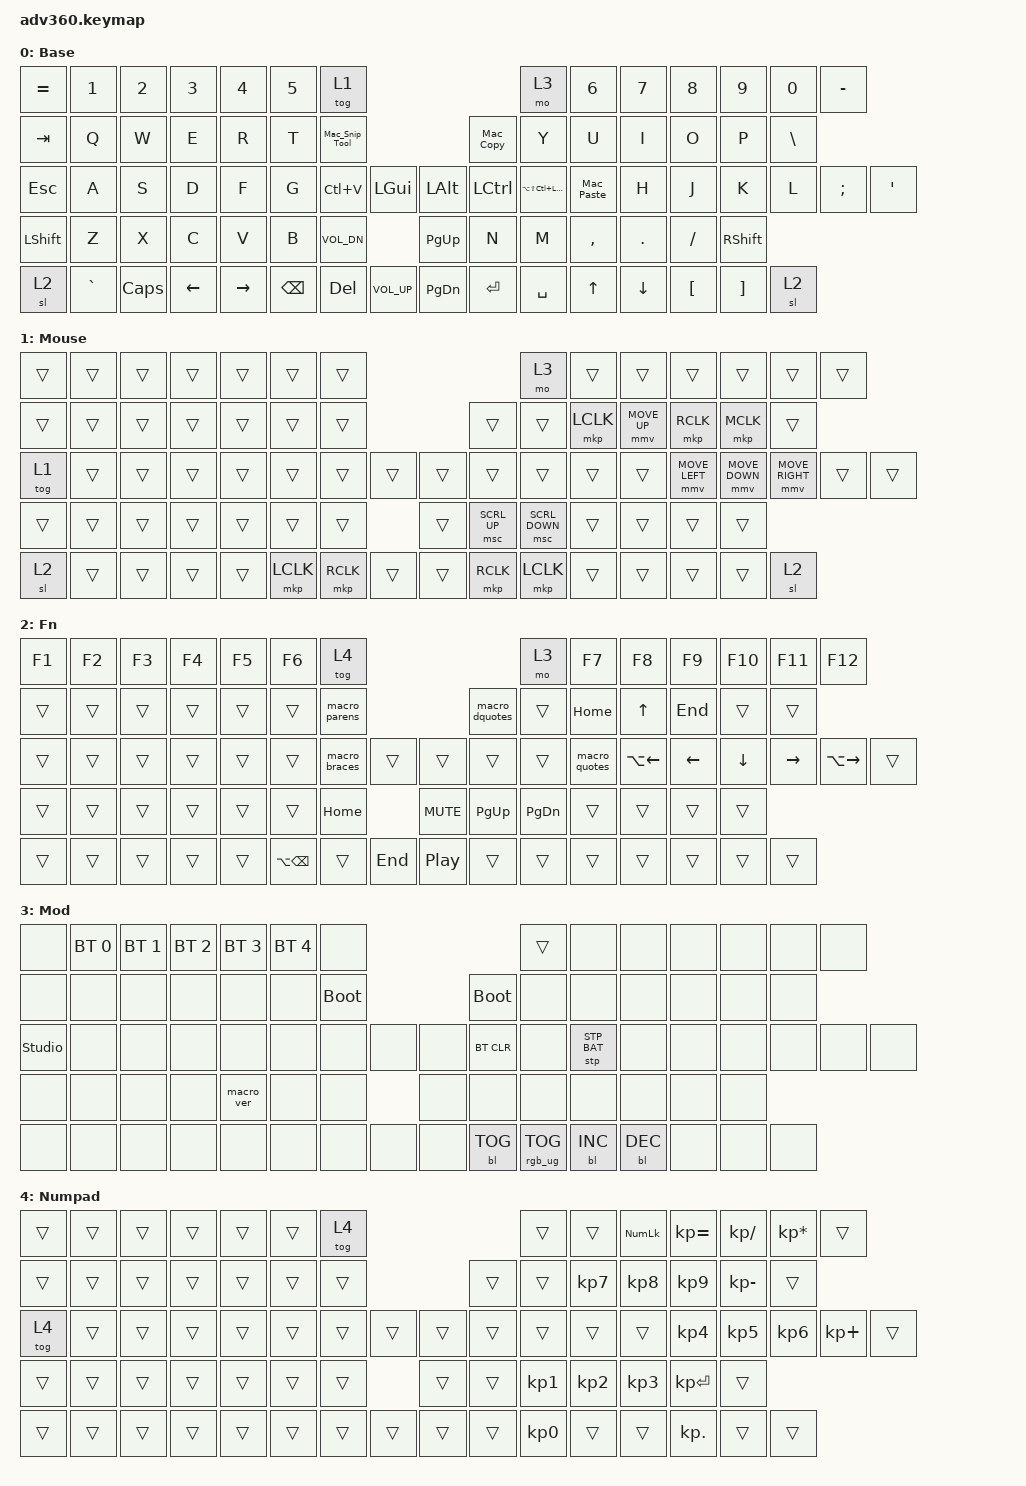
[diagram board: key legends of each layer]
#include <behaviors.dtsi>
#include <dt-bindings/zmk/keys.h>
#include <dt-bindings/zmk/bt.h>
#include <dt-bindings/zmk/rgb.h>
#include <dt-bindings/zmk/stp.h>
#include <dt-bindings/zmk/backlight.h>
#include <dt-bindings/zmk/pointing.h>

/ {
    behaviors {
      #include "macros.dtsi"
      #include "version.dtsi"

      hm: homerow_mods {
          compatible = "zmk,behavior-hold-tap";
          label = "HOMEROW_MODS";
          #binding-cells = <2>;
          tapping-term-ms = <200>;
          quick_tap_ms = <175>;
          flavor = "tap-preferred";
          bindings = <&kp>, <&kp>;
      };
    };

  keymap {
    compatible = "zmk,keymap";

    default_layer {
      display-name = "Base";
      bindings = <
        &kp EQUAL &kp N1 &kp N2 &kp N3 &kp N4 &kp N5 &tog 1       &mo 3 &kp N6 &kp N7 &kp N8 &kp N9 &kp N0 &kp MINUS
        &kp TAB &kp Q &kp W &kp E &kp R &kp T &Mac_Snip_Tool       &Mac_Copy &kp Y &kp U &kp I &kp O &kp P &kp BSLH
        &kp ESC &kp A &kp S &kp D &kp F &kp G &kp LC(V)   &kp LGUI &kp LALT &kp LCTRL &kp LA(LS(LC(LGUI)))   &Mac_Paste &kp H &kp J &kp K &kp L &kp SEMI &kp SQT
        &kp LSHFT &kp Z &kp X &kp C &kp V &kp B   &kp C_VOL_DN &kp PG_UP   &kp N &kp M &kp COMMA &kp DOT &kp FSLH &kp RSHFT
        &sl 2 &kp GRAVE &kp CAPS &kp LEFT &kp RIGHT   &kp BSPC &kp DEL &kp C_VOL_UP &kp PG_DN &kp ENTER &kp SPACE   &kp UP &kp DOWN &kp LBKT &kp RBKT &sl 2
      >;
    };
    keypad {
      display-name = "Mouse";
      bindings = <
        &trans &trans &trans &trans &trans &trans &trans       &mo 3 &trans &trans &trans &trans &trans &trans
        &trans &trans &trans &trans &trans &trans &trans       &trans &trans &mkp LCLK &mmv MOVE_UP &mkp RCLK &mkp MCLK &trans
        &tog 1 &trans &trans &trans &trans &trans &trans   &trans &trans &trans &trans   &trans &trans &mmv MOVE_LEFT &mmv MOVE_DOWN &mmv MOVE_RIGHT &trans &trans
        &trans &trans &trans &trans &trans &trans   &trans &trans   &msc SCRL_UP &msc SCRL_DOWN &trans &trans &trans &trans
        &sl 2 &trans &trans &trans &trans   &mkp LCLK &mkp RCLK &trans &trans &mkp RCLK &mkp LCLK   &trans &trans &trans &trans &sl 2
      >;
    };
    fn {
      display-name = "Fn";
      bindings = <
        &kp F1 &kp F2 &kp F3 &kp F4 &kp F5 &kp F6 &tog 4       &mo 3 &kp F7 &kp F8 &kp F9 &kp F10 &kp F11 &kp F12
        &trans &trans &trans &trans &trans &trans &macro_parens       &macro_dquotes &trans &kp HOME &kp UP &kp END &trans &trans
        &trans &trans &trans &trans &trans &trans &macro_braces   &trans &trans &trans &trans   &macro_quotes &kp LA(LEFT) &kp LEFT &kp DOWN &kp RIGHT &kp LA(RIGHT) &trans
        &trans &trans &trans &trans &trans &trans   &kp HOME &kp C_MUTE   &kp PG_UP &kp PG_DN &trans &trans &trans &trans
        &trans &trans &trans &trans &trans   &kp LA(BSPC) &trans &kp END &kp C_PP &trans &trans   &trans &trans &trans &trans &trans
      >;
    };
    mod {
      display-name = "Mod";
      bindings = <
        &none &bt BT_SEL 0 &bt BT_SEL 1 &bt BT_SEL 2 &bt BT_SEL 3 &bt BT_SEL 4 &none       &trans &none &none &none &none &none &none
        &none &none &none &none &none &none &bootloader       &bootloader &none &none &none &none &none &none
        &studio_unlock &none &none &none &none &none &none   &none &none &bt BT_CLR &none   &stp STP_BAT &none &none &none &none &none &none
        &none &none &none &none &macro_ver &none   &none &none   &none &none &none &none &none &none
        &none &none &none &none &none   &none &none &none &none &bl BL_TOG &rgb_ug RGB_TOG   &bl BL_INC &bl BL_DEC &none &none &none
      >;
    };
    extra1 {
      display-name = "Numpad";
      bindings = <
        &trans &trans &trans &trans &trans &trans &tog 4       &trans &trans &kp KP_NUM &kp KP_EQUAL &kp KP_DIVIDE &kp KP_MULTIPLY &trans
        &trans &trans &trans &trans &trans &trans &trans       &trans &trans &kp KP_N7 &kp KP_N8 &kp KP_N9 &kp KP_MINUS &trans
        &tog 4 &trans &trans &trans &trans &trans &trans   &trans &trans &trans &trans   &trans &trans &kp KP_N4 &kp KP_N5 &kp KP_N6 &kp KP_PLUS &trans
        &trans &trans &trans &trans &trans &trans   &trans &trans   &trans &kp KP_N1 &kp KP_N2 &kp KP_N3 &kp KP_ENTER &trans
        &trans &trans &trans &trans &trans   &trans &trans &trans &trans &trans &kp KP_N0   &trans &trans &kp KP_DOT &trans &trans
      >;
    };
    extra2 { 
      display-name = "Purple";    
      status = "reserved";
    };

    extra3 { 
      display-name = "Cyan";    
      status = "reserved";
    };

    extra4 { 
      display-name = "Yellow";    
      status = "reserved";
    };
  };
};
